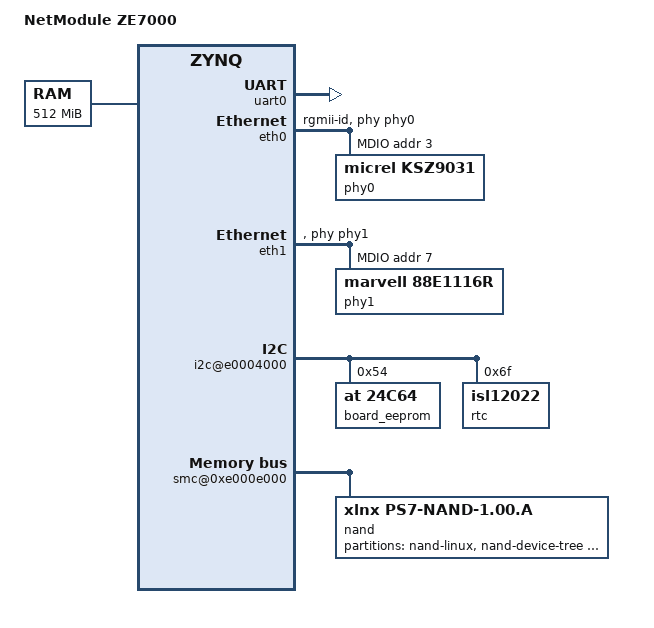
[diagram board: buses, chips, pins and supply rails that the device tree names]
/*
 *  Copyright (C) 2012 NetModule AG
 *
 * This software is licensed under the terms of the GNU General Public
 * License version 2, as published by the Free Software Foundation, and
 * may be copied, distributed, and modified under those terms.
 *
 * This program is distributed in the hope that it will be useful,
 * but WITHOUT ANY WARRANTY; without even the implied warranty of
 * MERCHANTABILITY or FITNESS FOR A PARTICULAR PURPOSE.  See the
 * GNU General Public License for more details.
 */

/dts-v1/;

/ {
	model = "NetModule ZE7000";
	compatible = "xlnx,zynq-zc770";
	#address-cells = <0x1>;
	#size-cells = <0x1>;
	interrupt-parent = <&gic>;
	
	aliases {
		serial0 = &uart0;
	} ;

	memory {
		device_type = "memory";
		reg = <0x0 0x20000000>; /* 512 MB */
	};

	chosen {
		linux,stdout-path = "@uart0";
	};

	pmu {
		compatible = "arm,cortex-a9-pmu";
		interrupts = <0 5 4>, <0 6 4>;
		interrupt-parent = <&gic>;
	};

	amba@0 {
		compatible = "simple-bus";
		#address-cells = <0x1>;
		#size-cells = <0x1>;
		ranges;

		gic: intc@f8f01000 {
			interrupt-controller;
			compatible = "arm,cortex-a9-gic";
			#interrupt-cells = <3>;
			reg = < 0xf8f01000 0x1000 >,
			      < 0xf8f00100 0x0100 >;
		};

		pl310@f8f02000 {
			compatible = "arm,pl310-cache";
			cache-unified;
			cache-level = <0x2>;
			reg = <0xf8f02000 0x1000>;
			arm,data-latency = <0x3 0x2 0x2>;
			arm,tag-latency = <0x2 0x2 0x2>;
		};

		ps7_ddrc_0: ps7-ddrc@f8006000 {
			compatible = "xlnx,ps7-ddrc-1.00.a", "xlnx,ps7-ddrc";
			reg = < 0xf8006000 0x1000 >;
			xlnx,has-ecc = <0x0>;
		} ;

		ps7_ocm_0: ps7-ocm@0xfffc0000 {
			compatible = "xlnx,ps7-ocm";
			reg = <0xfffc0000 0x40000>; /* 256k */
		};

		uart0: uart@e0000000 {
			compatible = "xlnx,ps7-uart-1.00.a";
			reg = <0xE0000000 0x1000>;
			interrupts = <0 27 0>;
			interrupt-parent = <&gic>;
		};
		
		slcr: slcr@f8000000 {
			compatible = "xlnx,zynq-slcr";
			reg = <0xF8000000 0x1000>;
			clocks {
				#address-cells = <1>;
				#size-cells = <0>;
				armpll: armpll {
					#clock-cells = <0>;
					clock-output-names = "armpll";
					clocks = <&ps_clk>;
					compatible = "xlnx,zynq-pll";
					lockbit = <0>;
					reg = < 0x100 0x110 0x10c >;
				} ;
				ddrpll: ddrpll {
					#clock-cells = <0>;
					clock-output-names = "ddrpll";
					clocks = <&ps_clk>;
					compatible = "xlnx,zynq-pll";
					lockbit = <1>;
					reg = < 0x104 0x114 0x10c >;
				} ;
				iopll: iopll {
					#clock-cells = <0>;
					clock-output-names = "iopll";
					clocks = <&ps_clk>;
					compatible = "xlnx,zynq-pll";
					lockbit = <2>;
					reg = < 0x108 0x118 0x10c >;
				} ;
				ps_clk: ps_clk {
					#clock-cells = <0>;
					clock-frequency = <33333333>;
					clock-output-names = "ps_clk";
					compatible = "fixed-clock";
				} ;
			} ;
		};

		timer@0xf8001000 {
			compatible = "xlnx,ps7-ttc-1.00.a";
			reg = <0xf8001000 0x1000>;
			interrupts = <0 10 4>,<0 11 4>,<0 12 4>;
			interrupt-parent = <&gic>;
		};

		timer@f8f00600 {
			compatible = "arm,cortex-a9-twd-timer";
			reg = <0xf8f00600 0x20>;
			interrupts = <1 13 0x0301>;
			interrupt-parent = <&gic>;
		};

		swdt@f8005000 {
			device_type = "watchdog";
			compatible = "xlnx,ps7-wdt-1.00.a";
			interrupts = <0 9 4>;
			interrupt-parent = <&gic>;
			reg = <0xf8005000 0x100>;
			reset = <0>;
			timeout = <10>;
		};

		scuwdt@f8f00620 {
			device_type = "watchdog";
			compatible = "arm,mpcore_wdt";
			reg = <0xf8f00620 0x20>;
			clock-frequency = <400000000>;
			reset = <1>;
		};

		eth0: eth@e000b000 {
			compatible = "xlnx,ps7-ethernet-1.00.a";
			reg = <0xe000b000 0x1000>;
			interrupts = <0 22 4>;
			interrupt-parent = <&gic>;
			phy-handle = <&phy0>;
			phy-mode = "rgmii-id";
			xlnx,slcr-div0-1000Mbps = <8>;
			xlnx,slcr-div0-100Mbps = <8>;
			xlnx,slcr-div0-10Mbps = <8>;
			xlnx,slcr-div1-1000Mbps = <1>;
			xlnx,slcr-div1-100Mbps = <5>;
			xlnx,slcr-div1-10Mbps = <50>;
			#address-cells = <0x1>;
			#size-cells = <0x0>;
			mdio {
				#address-cells = <1>;
				#size-cells = <0>;
				phy0: phy@3 {
					compatible = "micrel,ksz9031";
					device_type = "ethernet-phy";
					reg = <0x3>;
				};
			};
		};
		
		eth1: eth@e000c000 {
			compatible = "xlnx,ps7-ethernet-1.00.a";
			reg = <0xe000c000 0x1000>;
			interrupts = <0 45 0>;
			interrupt-parent = <&gic>;
			phy-handle = <&phy1>;
			phy-mode = "";
			/*
			xlnx,slcr-div0-1000Mbps = <8>;
			xlnx,slcr-div0-100Mbps = <8>;
			xlnx,slcr-div0-10Mbps = <8>;
			xlnx,slcr-div1-1000Mbps = <1>;
			xlnx,slcr-div1-100Mbps = <5>;
			xlnx,slcr-div1-10Mbps = <50>;
			*/
			#address-cells = <0x1>;
			#size-cells = <0x0>;
			mdio {
				#address-cells = <1>;
				#size-cells = <0>;
				phy1: phy@4 {
					compatible = "marvell,88e1116R";
					device_type = "ethernet-phy";
					reg = <7>;
				};
			} ;
		};

		gpio@e000a000 {
			compatible = "xlnx,ps7-gpio-1.00.a";
			reg = <0xe000a000 0x1000>;
			interrupts = <0 20 4>;
			interrupt-parent = <&gic>;
		};

		i2c@e0004000 {
			compatible = "xlnx,ps7-i2c-1.00.a";
			reg = <0xe0004000 0x1000>;
			interrupts = <0x0 0x19 0x0>;
			interrupt-parent = <&gic>;
			bus-id = <0x0>;
			input-clk = <0x69f6bc7>;
			i2c-clk = <0x186a0>;
			#address-cells = <0x1>;
			#size-cells = <0x0>;
			
			board_eeprom@54 {
				compatible = "at,24c64";
				reg = <0x54>;
			};

			rtc@6F {
				compatible = "isl12022";
				reg = <0x6F>;
			}; 
			
		};

		smc@0xe000e000 {
			compatible = "xlnx,ps7-smc";
			reg = <0xe000e000 0x1000>;
			#address-cells = <1>;
			#size-cells = <1>;
			ranges;

			nand@e1000000 {
				compatible = "xlnx,ps7-nand-1.00.a";
				reg = <0xe1000000 0x1000000>;
				xlnx,nand-width = <8>;
				/* timings in smc cycles count */
				xlnx,nand-cycle-t0 = <3>; /* tRC */
				xlnx,nand-cycle-t1 = <3>; /* tWC */
				xlnx,nand-cycle-t2 = <1>; /* tREA */
				xlnx,nand-cycle-t3 = <2>; /* tWP */
				xlnx,nand-cycle-t4 = <2>; /* tCLR */
				xlnx,nand-cycle-t5 = <2>; /* tAR */
				xlnx,nand-cycle-t6 = <3>; /* tRR */
				#address-cells = <1>;
				#size-cells = <1>;

				partition@0 {
					label = "nand-linux";
					reg = <0x0 0x500000>;
				};
				
				partition@1 {
					label = "nand-device-tree";
					reg = <0x500000 0x100000>;
				};
				
				partition@2 {
					label = "nand-rootfs";
					reg = <0x600000 0x0>; /* maximum size */
				};
			};
		};

		devcfg@f8007000 {
			compatible = "xlnx,ps7-dev-cfg-1.00.a";
			reg = <0xf8007000 0x100>;
			interrupts = <0x0 0x8 0x0>;
			interrupt-parent = <&gic>;
		};
		
		ps7_dma_s: ps7-dma@f8003000 {
			#dma-cells = <1>;
			#dma-channels = <8>;
			#dma-requests = <4>;
			arm,primecell-periphid = <0x41330>;
			compatible = "xlnx,ps7-dma-1.00.a", "arm,primecell", "arm,pl330";
			interrupt-parent = <&gic>;
			interrupts = < 0 13 4 0 14 4 0 15 4 0 16 4 0 17 4 0 40 4 0 41 4 0 42 4 0 43 4 >;
			reg = < 0xf8003000 0x1000 >;
		} ;
	};
};
